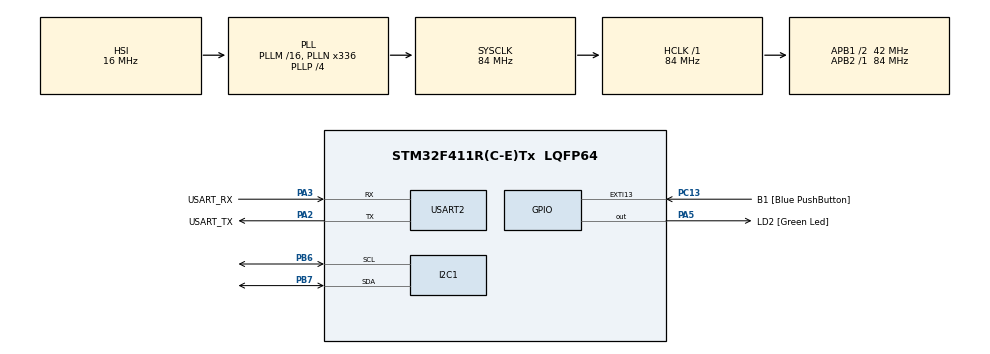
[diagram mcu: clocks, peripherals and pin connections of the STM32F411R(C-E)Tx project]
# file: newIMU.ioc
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Mcu.Family=STM32F4
Mcu.Name=STM32F411R(C-E)Tx
Mcu.Package=LQFP64
NVIC.PriorityGroup=NVIC_PRIORITYGROUP_0
PA13.GPIO_Label=TMS
PA13.Signal=SYS_JTMS-SWDIO
PA14.GPIO_Label=TCK
PA14.Signal=SYS_JTCK-SWCLK
PA2.GPIO_Label=USART_TX
PA2.Mode=Asynchronous
PA2.Signal=USART2_TX
PA3.GPIO_Label=USART_RX
PA3.Mode=Asynchronous
PA3.Signal=USART2_RX
PA5.GPIO_Label=LD2 [Green Led]
PA5.Signal=GPIO_Output
PB3.GPIO_Label=SWO
PB3.Signal=SYS_JTDO-SWO
PB6.Mode=I2C
PB6.Signal=I2C1_SCL
PB7.Mode=I2C
PB7.Signal=I2C1_SDA
PC13-ANTI_TAMP.GPIO_Label=B1 [Blue PushButton]
PC13-ANTI_TAMP.GPIO_ModeDefaultEXTI=GPIO_MODE_IT_FALLING
PC13-ANTI_TAMP.Signal=GPXTI13
PC14-OSC32_IN.Signal=RCC_OSC32_IN
PC15-OSC32_OUT.Signal=RCC_OSC32_OUT
PH0\ -\ OSC_IN.Signal=RCC_OSC_IN
PH1\ -\ OSC_OUT.Signal=RCC_OSC_OUT
ProjectManager.HeapSize=0x200
ProjectManager.StackSize=0x400
ProjectManager.TargetToolchain=STM32CubeIDE
RCC.48MHZClocksFreq_Value=84000000
RCC.AHBFreq_Value=84000000
RCC.APB1CLKDivider=RCC_HCLK_DIV2
RCC.APB1Freq_Value=42000000
RCC.APB1TimFreq_Value=84000000
RCC.APB2Freq_Value=84000000
RCC.APB2TimFreq_Value=84000000
RCC.CortexFreq_Value=84000000
RCC.FLatency-AdvancedSettings=FLASH_LATENCY_2
RCC.HCLKFreq_Value=84000000
RCC.HSE_VALUE=8000000
RCC.HSI_VALUE=16000000
RCC.LSE_VALUE=32768
RCC.PLLN=336
RCC.PLLP=RCC_PLLP_DIV4
RCC.SYSCLKFreq_VALUE=84000000
RCC.SYSCLKSource=RCC_SYSCLKSOURCE_PLLCLK
RCC.VCOOutputFreq_Value=336000000
USART2.VirtualMode=VM_ASYNC
board=NUCLEO-F411RE

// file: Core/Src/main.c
/* USER CODE BEGIN Header */
/**
  ******************************************************************************
  * @file           : main.c
  * @brief          : Main program body
  ******************************************************************************
  * @attention
  *
  * Copyright (c) 2023 STMicroelectronics.
  * All rights reserved.
  *
  * This software is licensed under terms that can be found in the LICENSE file
  * in the root directory of this software component.
  * If no LICENSE file comes with this software, it is provided AS-IS.
  *
  ******************************************************************************
  */
/* USER CODE END Header */
#include "main.h"
#include <stdio.h>

/* USER CODE BEGIN PD */
#define IMU_ADDR 0x68
#define ACCEL_X_H 0x45
#define ACCEL_CONFIG 0x14

/* USER CODE END PD */

I2C_HandleTypeDef hi2c1;

UART_HandleTypeDef huart2;

void SystemClock_Config(void);
static void MX_GPIO_Init(void);
static void MX_I2C1_Init(void);
static void MX_USART2_UART_Init(void);
/* USER CODE BEGIN PFP */

double get_accel(uint8_t raw_data) {
	return raw_data / (16 * 9.8);
}
/* USER CODE END PFP */

/* USER CODE BEGIN 0 */
typedef union {
	typedef struct {
		uint16_t x;
		uint16_t y;
		uint16_t z;
	} xyz_data;

	xyz_data data;

	uint8_t buf[6];
} accel_data;

/* USER CODE END 0 */

int main(void)
{

  /* MCU Configuration--------------------------------------------------------*/

  /* Reset of all peripherals, Initializes the Flash interface and the Systick. */
  HAL_Init();

  /* Configure the system clock */
  SystemClock_Config();

  /* Initialize all configured peripherals */
  MX_GPIO_Init();
  MX_I2C1_Init();
  MX_USART2_UART_Init();
  /* USER CODE BEGIN 2 */

  accel_data rx_data;

  uint8_t config_msg = 0b110;

  i2c_write(IMU_ADDR, ACCEL_CONFIG, &config_msg, 1);
  /* USER CODE END 2 */

  /* Infinite loop */
  /* USER CODE BEGIN WHILE */
  while (1)
  {
	  i2c_read(IMU_ADDR, ACCEL_X_H, rx_data.buf, 6);
	  printf("X: %.2f\tY: %.2f\tZ: %.2f\n\r", get_accel(rx_data.data.x),
											  get_accel(rx_data.data.y),
											  get_accel(rx_data.data.z));

	  HAL_Delay(50);
    /* USER CODE END WHILE */

  }
}

void SystemClock_Config(void)
{
  RCC_OscInitTypeDef RCC_OscInitStruct = {0};
  RCC_ClkInitTypeDef RCC_ClkInitStruct = {0};

  /** Configure the main internal regulator output voltage
  */
  __HAL_RCC_PWR_CLK_ENABLE();
  __HAL_PWR_VOLTAGESCALING_CONFIG(PWR_REGULATOR_VOLTAGE_SCALE1);

  /** Initializes the RCC Oscillators according to the specified parameters
  * in the RCC_OscInitTypeDef structure.
  */
  RCC_OscInitStruct.OscillatorType = RCC_OSCILLATORTYPE_HSI;
  RCC_OscInitStruct.HSIState = RCC_HSI_ON;
  RCC_OscInitStruct.HSICalibrationValue = RCC_HSICALIBRATION_DEFAULT;
  RCC_OscInitStruct.PLL.PLLState = RCC_PLL_ON;
  RCC_OscInitStruct.PLL.PLLSource = RCC_PLLSOURCE_HSI;
  RCC_OscInitStruct.PLL.PLLM = 16;
  RCC_OscInitStruct.PLL.PLLN = 336;
  RCC_OscInitStruct.PLL.PLLP = RCC_PLLP_DIV4;
  RCC_OscInitStruct.PLL.PLLQ = 4;
  if (HAL_RCC_OscConfig(&RCC_OscInitStruct) != HAL_OK)
  {
    Error_Handler();
  }

  /** Initializes the CPU, AHB and APB buses clocks
  */
  RCC_ClkInitStruct.ClockType = RCC_CLOCKTYPE_HCLK|RCC_CLOCKTYPE_SYSCLK
                              |RCC_CLOCKTYPE_PCLK1|RCC_CLOCKTYPE_PCLK2;
  RCC_ClkInitStruct.SYSCLKSource = RCC_SYSCLKSOURCE_PLLCLK;
  RCC_ClkInitStruct.AHBCLKDivider = RCC_SYSCLK_DIV1;
  RCC_ClkInitStruct.APB1CLKDivider = RCC_HCLK_DIV2;
  RCC_ClkInitStruct.APB2CLKDivider = RCC_HCLK_DIV1;

  if (HAL_RCC_ClockConfig(&RCC_ClkInitStruct, FLASH_LATENCY_2) != HAL_OK)
  {
    Error_Handler();
  }
}

static void MX_I2C1_Init(void)
{

  hi2c1.Instance = I2C1;
  hi2c1.Init.ClockSpeed = 100000;
  hi2c1.Init.DutyCycle = I2C_DUTYCYCLE_2;
  hi2c1.Init.OwnAddress1 = 0;
  hi2c1.Init.AddressingMode = I2C_ADDRESSINGMODE_7BIT;
  hi2c1.Init.DualAddressMode = I2C_DUALADDRESS_DISABLE;
  hi2c1.Init.OwnAddress2 = 0;
  hi2c1.Init.GeneralCallMode = I2C_GENERALCALL_DISABLE;
  hi2c1.Init.NoStretchMode = I2C_NOSTRETCH_DISABLE;
  if (HAL_I2C_Init(&hi2c1) != HAL_OK)
  {
    Error_Handler();
  }

}

static void MX_USART2_UART_Init(void)
{

  huart2.Instance = USART2;
  huart2.Init.BaudRate = 115200;
  huart2.Init.WordLength = UART_WORDLENGTH_8B;
  huart2.Init.StopBits = UART_STOPBITS_1;
  huart2.Init.Parity = UART_PARITY_NONE;
  huart2.Init.Mode = UART_MODE_TX_RX;
  huart2.Init.HwFlowCtl = UART_HWCONTROL_NONE;
  huart2.Init.OverSampling = UART_OVERSAMPLING_16;
  if (HAL_UART_Init(&huart2) != HAL_OK)
  {
    Error_Handler();
  }

}

static void MX_GPIO_Init(void)
{
  GPIO_InitTypeDef GPIO_InitStruct = {0};

  /* GPIO Ports Clock Enable */
  __HAL_RCC_GPIOC_CLK_ENABLE();
  __HAL_RCC_GPIOH_CLK_ENABLE();
  __HAL_RCC_GPIOA_CLK_ENABLE();
  __HAL_RCC_GPIOB_CLK_ENABLE();

  /*Configure GPIO pin Output Level */
  HAL_GPIO_WritePin(LD2_GPIO_Port, LD2_Pin, GPIO_PIN_RESET);

  /*Configure GPIO pin : B1_Pin */
  GPIO_InitStruct.Pin = B1_Pin;
  GPIO_InitStruct.Mode = GPIO_MODE_IT_FALLING;
  GPIO_InitStruct.Pull = GPIO_NOPULL;
  HAL_GPIO_Init(B1_GPIO_Port, &GPIO_InitStruct);

  /*Configure GPIO pin : LD2_Pin */
  GPIO_InitStruct.Pin = LD2_Pin;
  GPIO_InitStruct.Mode = GPIO_MODE_OUTPUT_PP;
  GPIO_InitStruct.Pull = GPIO_NOPULL;
  GPIO_InitStruct.Speed = GPIO_SPEED_FREQ_LOW;
  HAL_GPIO_Init(LD2_GPIO_Port, &GPIO_InitStruct);

}

/* USER CODE BEGIN 4 */
#ifdef __GNUC__
#define PUTCHAR_PROTOTYPE int __io_putchar(int ch)
#else
  #define PUTCHAR_PROTOTYPE int fputc(int ch, FILE *f)
#endif /* __GNUC__ */
PUTCHAR_PROTOTYPE
{
  HAL_UART_Transmit(&usart2, (uint8_t *)&ch, 1, 0xFFFF);
  return ch;
}

/* USER CODE END 4 */

void Error_Handler(void)
{
  __disable_irq();
  while (1)
  {
  }
}
